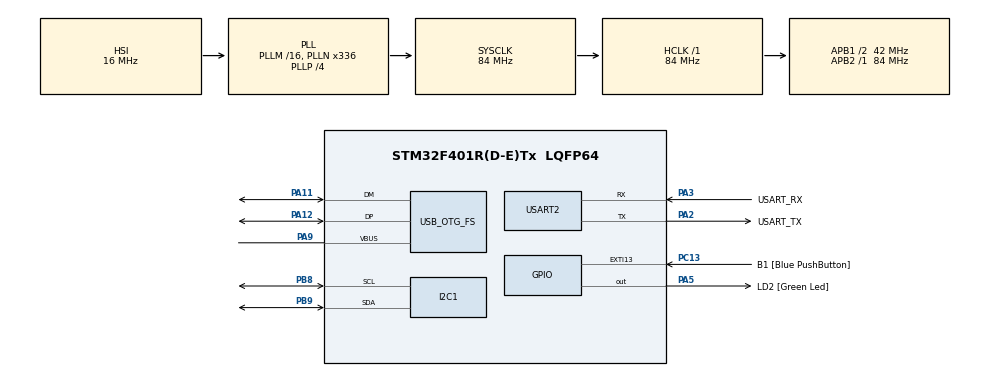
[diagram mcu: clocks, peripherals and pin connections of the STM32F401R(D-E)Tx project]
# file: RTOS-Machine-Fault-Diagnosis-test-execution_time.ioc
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I2C1.I2C_Mode=I2C_Fast
Mcu.Family=STM32F4
Mcu.Name=STM32F401R(D-E)Tx
Mcu.Package=LQFP64
NVIC.EXTI15_10_IRQn=true\:0\:0\:false\:false\:true\:true\:true\:true
NVIC.OTG_FS_IRQn=true\:0\:0\:false\:false\:true\:true\:true\:true
NVIC.PriorityGroup=NVIC_PRIORITYGROUP_4
PA11.Mode=Host_Only
PA11.Signal=USB_OTG_FS_DM
PA12.Mode=Host_Only
PA12.Signal=USB_OTG_FS_DP
PA13.GPIO_Label=TMS
PA13.Mode=Trace_Asynchronous_SW
PA13.Signal=SYS_JTMS-SWDIO
PA14.GPIO_Label=TCK
PA14.Mode=Trace_Asynchronous_SW
PA14.Signal=SYS_JTCK-SWCLK
PA2.GPIO_Label=USART_TX
PA2.GPIO_Mode=GPIO_MODE_AF_PP
PA2.GPIO_PuPd=GPIO_NOPULL
PA2.GPIO_Speed=GPIO_SPEED_FREQ_LOW
PA2.Mode=Asynchronous
PA2.Signal=USART2_TX
PA3.GPIO_Label=USART_RX
PA3.GPIO_Mode=GPIO_MODE_AF_PP
PA3.GPIO_PuPd=GPIO_NOPULL
PA3.GPIO_Speed=GPIO_SPEED_FREQ_LOW
PA3.Mode=Asynchronous
PA3.Signal=USART2_RX
PA5.GPIO_Label=LD2 [Green Led]
PA5.GPIO_Mode=GPIO_MODE_OUTPUT_PP
PA5.GPIO_PuPd=GPIO_NOPULL
PA5.GPIO_Speed=GPIO_SPEED_FREQ_LOW
PA5.Signal=GPIO_Output
PA9.Mode=Activate_VBUS
PA9.Signal=USB_OTG_FS_VBUS
PB3.GPIO_Label=SWO
PB3.Mode=Trace_Asynchronous_SW
PB3.Signal=SYS_JTDO-SWO
PB8.Mode=I2C
PB8.Signal=I2C1_SCL
PB9.Mode=I2C
PB9.Signal=I2C1_SDA
PC13-ANTI_TAMP.GPIO_Label=B1 [Blue PushButton]
PC13-ANTI_TAMP.GPIO_ModeDefaultEXTI=GPIO_MODE_IT_FALLING
PC13-ANTI_TAMP.GPIO_PuPd=GPIO_PULLUP
PC13-ANTI_TAMP.Signal=GPXTI13
PC14-OSC32_IN.Mode=LSE-External-Oscillator
PC14-OSC32_IN.Signal=RCC_OSC32_IN
PC15-OSC32_OUT.Mode=LSE-External-Oscillator
PC15-OSC32_OUT.Signal=RCC_OSC32_OUT
PH0\ -\ OSC_IN.Mode=HSE-External-Clock-Source
PH0\ -\ OSC_IN.Signal=RCC_OSC_IN
PH1\ -\ OSC_OUT.Mode=HSE-External-Clock-Source
PH1\ -\ OSC_OUT.Signal=RCC_OSC_OUT
ProjectManager.HeapSize=0x800
ProjectManager.StackSize=0x800
ProjectManager.TargetToolchain=STM32CubeIDE
RCC.48MHZClocksFreq_Value=48000000
RCC.AHBFreq_Value=84000000
RCC.APB1CLKDivider=RCC_HCLK_DIV2
RCC.APB1Freq_Value=42000000
RCC.APB1TimFreq_Value=84000000
RCC.APB2Freq_Value=84000000
RCC.APB2TimFreq_Value=84000000
RCC.CortexFreq_Value=84000000
RCC.HCLKFreq_Value=84000000
RCC.HSE_VALUE=8000000
RCC.HSI_VALUE=16000000
RCC.PLLM=4
RCC.PLLN=168
RCC.PLLP=RCC_PLLP_DIV4
RCC.PLLQ=7
RCC.SYSCLKFreq_VALUE=84000000
RCC.SYSCLKSource=RCC_SYSCLKSOURCE_PLLCLK
RCC.VCOOutputFreq_Value=336000000
USART2.VirtualMode=VM_ASYNC
USB_HOST.BSP.number=1
USB_HOST.USBH_HandleTypeDef-AUDIO_FS=hUsbHostFS
USB_HOST.VirtualModeFS=Audio
USB_HOST0.BSP.STBoard=false
USB_HOST0.BSP.api=Unknown
USB_HOST0.BSP.condition=SW_VBUS_DRIVE_AUDIO_FS \= false
USB_HOST0.BSP.instance=PA5
USB_HOST0.BSP.ip=GPIO
USB_HOST0.BSP.mode=Output
USB_HOST0.BSP.name=Drive_VBUS_FS
USB_HOST0.BSP.solution=PA5
USB_OTG_FS.VirtualMode=Host_Only
USB_OTG_FS.phy_itface=HCD_PHY_EMBEDDED
VP_CRC_VS_CRC.Mode=CRC_Activate
VP_USB_HOST_VS_USB_HOST_AUDIO_FS.Mode=AUDIO_FS
board=NUCLEO-F401RE

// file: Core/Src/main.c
/* USER CODE BEGIN Header */
/**
  ******************************************************************************
  * @file           : main.c
  * @brief          : Main program body
  ******************************************************************************
  * @attention
  *
  * Copyright (c) 2025 STMicroelectronics.
  * All rights reserved.
  *
  * This software is licensed under terms that can be found in the LICENSE file
  * in the root directory of this software component.
  * If no LICENSE file comes with this software, it is provided AS-IS.
  *
  ******************************************************************************
  */

/* USER CODE BEGIN Header */
/**
  ******************************************************************************
  * @file           : main.c
  * @brief          : Main program body
  ******************************************************************************
  * @attention
  *
  * Copyright (c) 2025 STMicroelectronics.
  * All rights reserved.
  *
  * This software is licensed under terms that can be found in the LICENSE file
  * in the root directory of this software component.
  * If no LICENSE file comes with this software, it is provided AS-IS.
  *
  ******************************************************************************
  */
/* USER CODE END Header */
#include "main.h"
#include "usb_host.h"

/* USER CODE BEGIN Includes */
#include <string.h>
#include <stdio.h>
#include <float.h>
#include <math.h>

#include "FreeRTOS.h"
#include "task.h"
#include "queue.h"
#include "semphr.h"
#include "usbh_audio.h"
#include "i2c.h"
#include "i2c_lcd.h"

#include "ai_datatypes_defines.h"
#include "ai_platform.h"
#include "frfconv.h"
#include "frfconv_data.h"
#include "app_x-cube-ai.h"
/* USER CODE END Includes */

/* USER CODE BEGIN PM */
// 진동 데이터 센싱 관련 상수 정의
#define SAMPLES_TO_SAVE 2048
#define CHANNELS 2
#define BYTES_PER_SAMPLE 3
#define FRAME_SIZE (CHANNELS * BYTES_PER_SAMPLE)
#define SCALE_FACTOR (0.10197f / (32550.0f * 1.02575f))
#define DOWNSAMPLE_FACTOR 3
#define CPU_CLOCK_HZ SystemCoreClock
/* USER CODE END PM */

/* USER CODE BEGIN PV */
/* 전역/외부 심볼 */
extern CRC_HandleTypeDef hcrc;
extern ApplicationTypeDef Appli_state;
extern char USBHPath[4];
extern USBH_HandleTypeDef hUsbHostFS;
// 데이터 수집 완료를 알리기 위한 바이너리 세마포어 핸들
SemaphoreHandle_t xDataReadySemaphore;
// USBReadTask에서 수집하고 modelTask에서 사용할 공유 데이터 버퍼
static float sample_buffer[SAMPLES_TO_SAVE];
extern UART_HandleTypeDef huart2;

static ai_u8 activations[AI_FRFCONV_DATA_ACTIVATIONS_SIZE];
static ai_float in_data[AI_FRFCONV_IN_1_SIZE];
static ai_float out_data[AI_FRFCONV_OUT_1_SIZE];

static ai_buffer *ai_input;
static ai_buffer *ai_output;
/* USER CODE END PV */

void SystemClock_Config(void);
static void MX_GPIO_Init(void);
static void MX_USART2_UART_Init(void);
static void MX_CRC_Init(void);
void MX_USB_HOST_Process(void);

/* USER CODE BEGIN PFP */
/* Cube가 I2C를 생성했다면 i2c.h가 생기며 MX_I2C1_Init도 생성됩니다.
   나중에 LCD를 쓸 때 main에서 MX_I2C1_Init()을 호출할 계획이면
   i2c.h를 include하고 아래 프로토타입을 추가하세요. (지금은 호출하지 않음)
   // #include "i2c.h"
   // static void MX_I2C1_Init(void);
*/
int32_t convert24bitToInt32(uint8_t *p);

/* 프린트/태스크/헬퍼 함수 프로토타입 */
//void vUSBhostTask(void *pv);
void SystemClock_Config(void);
void vPrintString(const char *str);
void vUSBReadTask(void *pvParameters);
void DumpHexUART(uint8_t *buf, uint16_t len);
void modelTask(void *pvParameters);
void vLCDTask(void *pvParameters);
void vUSBhostTask(void *pvParameters);

static void USB_Recover(void);
static const char* HostStateStr(ApplicationTypeDef s);
static bool USB_WaitReady(uint32_t wait_ms);

static bool USB_ReadBlock(float *MAI, int N);
static bool Model_Init(void);
static bool Model_RunOnce(const float *in2048, int *top_cls, float *top_prob);
static void LCD_PrintPaddedLine(uint8_t row, const char* s);
static void LCD_ShowResult(int cls, float prob);

/* USER CODE END PFP */

/* USER CODE BEGIN 0 */
/* USER 영역(전역 함수 구현 전 준비 공간) */
/* USER CODE END 0 */

int main(void)
{

  /* USER CODE BEGIN 1 */
  /* (필요 시 프리런 초기화 코드) */
  /* USER CODE END 1 */

  /* MCU Configuration--------------------------------------------------------*/

  /* Reset of all peripherals, Initializes the Flash interface and the Systick. */
  HAL_Init();

  /* Configure the system clock */
  SystemClock_Config();

  /* USER CODE BEGIN SysInit */
  /* 현재 구성 유지: HSI → PLL → SYSCLK=84MHz, PLLQ=7로 48MHz 확보 */
  /* USER CODE END SysInit */

  /* Initialize all configured peripherals */
  MX_GPIO_Init();
  MX_USART2_UART_Init();
  MX_USB_HOST_Init();
  MX_I2C1_Init();
  MX_CRC_Init();
  /* USER CODE BEGIN 2 */
  const char *boot = "[BOOT] UART ready\r\n";
  HAL_UART_Transmit(&huart2, (uint8_t*)boot, strlen(boot), 100);

  xDataReadySemaphore = xSemaphoreCreateBinary();
  if (xDataReadySemaphore == NULL) {
      vPrintString("[ERROR] Failed to create data ready semaphore!\r\n");
      while(1); // 시스템 정지
  }

//  xTaskCreate(vUSBhostTask, "USB host", 512, NULL, 4, NULL);
//  xTaskCreate(vUSBReadTask, "USBRead",  1024,  NULL, 3, NULL);
//  xTaskCreate(vUSBhostTask, "USB host process",  512,  NULL, 4, NULL);
//  xTaskCreate(vLCDTask, "LCD Task", 512, NULL, 1, NULL);
//  xTaskCreate(modelTask, "model Task", 1024*2, NULL, 2, NULL);

  // HAL_Delay 등 기능은 무조건 RTOS 시작 후 실행되게 하기 위해 초기화 늦게 수행
  MX_USB_HOST_Init();
  lcd_init();

  /* [ADD] 모델 초기화 */
  if (!Model_Init()) {
      vPrintString("[AI] init failed\r\n");
      Error_Handler();
  }
  /* USER CODE END 2 */

  /* Infinite loop */
  /* USER CODE BEGIN WHILE */
  while (1)
    {
        // 1) USB에서 2048 샘플 수집 (블로킹)
        if (!USB_ReadBlock(sample_buffer, SAMPLES_TO_SAVE)) {
            vPrintString("[USB] read block failed\r\n");
            continue;
        }

//        // (선택) 디버깅: 처음 3개 값
//        char dbg[96];
//        snprintf(dbg, sizeof(dbg), "Start: %.4f, %.4f, %.4f\r\n",
//                 sample_buffer[0], sample_buffer[1], sample_buffer[2]);
//        vPrintString(dbg);

        // 2) 모델 추론
        int top_cls = -1;
        float top_prob = 0.0f;
        if (!Model_RunOnce(sample_buffer, &top_cls, &top_prob)) {
            vPrintString("[AI] run failed\r\n");
            HAL_Delay(1);
            continue;
        }

        // 3) LCD
        LCD_ShowResult(top_cls, top_prob);
    }
}
  /* USER CODE END 3 */

static void MX_CRC_Init(void)
{

  hcrc.Instance = CRC;
  if (HAL_CRC_Init(&hcrc) != HAL_OK)
  {
    Error_Handler();
  }

}

static void MX_GPIO_Init(void)
{
  GPIO_InitTypeDef GPIO_InitStruct = {0};

  /* GPIO Ports Clock Enable */
  __HAL_RCC_GPIOC_CLK_ENABLE();
  __HAL_RCC_GPIOH_CLK_ENABLE();
  __HAL_RCC_GPIOA_CLK_ENABLE();
  __HAL_RCC_GPIOB_CLK_ENABLE();

  /*Configure GPIO pin Output Level */
  HAL_GPIO_WritePin(LD2_GPIO_Port, LD2_Pin, GPIO_PIN_RESET);

  /*Configure GPIO pin : B1_Pin */
  GPIO_InitStruct.Pin = B1_Pin;
  GPIO_InitStruct.Mode = GPIO_MODE_IT_FALLING;
  GPIO_InitStruct.Pull = GPIO_PULLUP;
  HAL_GPIO_Init(B1_GPIO_Port, &GPIO_InitStruct);

  /*Configure GPIO pin : LD2_Pin */
  GPIO_InitStruct.Pin = LD2_Pin;
  GPIO_InitStruct.Mode = GPIO_MODE_OUTPUT_PP;
  GPIO_InitStruct.Pull = GPIO_NOPULL;
  GPIO_InitStruct.Speed = GPIO_SPEED_FREQ_LOW;
  HAL_GPIO_Init(LD2_GPIO_Port, &GPIO_InitStruct);

  /* EXTI interrupt init*/
  HAL_NVIC_SetPriority(EXTI15_10_IRQn, 0, 0);
  HAL_NVIC_EnableIRQ(EXTI15_10_IRQn);

}

/* USER CODE BEGIN 4 */
/**
  * @brief System Clock Configuration
  * @retval None
  */

/* ====== [ADD] 라벨/유틸 ====== */
static const char* kLabels8[8] = { "H","L","M1","M2","M3","U1","U2","U3" };

static int argmaxf(const ai_float *x, int n) {
    int mi = 0; ai_float mv = x[0];
    for (int i = 1; i < n; ++i) if (x[i] > mv) { mv = x[i]; mi = i; }
    return mi;
}
static float softmax_top1_prob(const ai_float *x, int n, int topi) {
    float m = x[0]; for (int i = 1; i < n; ++i) if (x[i] > m) m = x[i];
    double sum = 0.0; for (int i = 0; i < n; ++i) sum += exp((double)(x[i] - m));
    return (float)(exp((double)(x[topi] - m)) / sum);
}

/* ====== [ADD] (선택) DWT 초기화 ====== */
static void DWT_Init(void) {
    CoreDebug->DEMCR |= CoreDebug_DEMCR_TRCENA_Msk;
    DWT->CYCCNT = 0;
    DWT->CTRL |= 1;
}

static const char* HostStateStr(ApplicationTypeDef s){
    switch(s){
      case APPLICATION_IDLE: return "IDLE";
      case APPLICATION_START: return "START";
      case APPLICATION_READY: return "READY";
      case APPLICATION_DISCONNECT: return "DISCONN";
      default: return "?";
    }
}

// 상단에 선언
static void USB_Recover(void) {
    vPrintString("[USB] recover: re-init host\r\n");
    USBH_Stop(&hUsbHostFS);
    USBH_DeInit(&hUsbHostFS);
    MX_USB_HOST_Init();
}

static bool USB_WaitReady(uint32_t wait_ms)
{
    uint32_t t0 = HAL_GetTick();
    ApplicationTypeDef last = Appli_state;

    while ((HAL_GetTick() - t0) < wait_ms) {
        MX_USB_HOST_Process();
        if (Appli_state != last) {
            char msg[48];
            snprintf(msg, sizeof(msg), "[USB] host=%s\r\n", HostStateStr(Appli_state));
            vPrintString(msg);
            last = Appli_state;
        }
        if (Appli_state == APPLICATION_READY)
            return true;
        HAL_Delay(2); // 여유 있게
    }
    return false;
}

static bool USB_ReadBlock(float *dst, int N)
{
    static uint8_t isoc_submitted = 0;

    /* READY 대기 (최대 5초) */
    if (Appli_state != APPLICATION_READY) {
        if (!USB_WaitReady(20000)) { // << 기다리는 시간 크게
            vPrintString("[USB] not READY (timeout)\r\n");
            return false;
        }
        isoc_submitted = 0;
    }

    AUDIO_HandleTypeDef *audio_handle =
        (AUDIO_HandleTypeDef *)((hUsbHostFS.pActiveClass) ? hUsbHostFS.pActiveClass->pData : NULL);
    if (!(audio_handle && audio_handle->microphone.supported)) {
        vPrintString("[USB] audio class not ready\r\n");
        return false;
    }

    const uint32_t FRAME_TIMEOUT_MS = 2000;   // 프레임 대기 타임아웃(늘림)
    uint32_t last_frame_tick = HAL_GetTick();
    int collected = 0;

    while (collected < N) {
        MX_USB_HOST_Process();

        /* 연결 끊김 감지 */
        if (Appli_state == APPLICATION_DISCONNECT || hUsbHostFS.pActiveClass == NULL) {
            vPrintString("[USB] disconnected during read\r\n");
            return false;
        }

        uint8_t *ubuf = audio_handle->microphone.buf;

        /* 최초 submit */
        if (!isoc_submitted) {
            if (USBH_IsocReceiveData(&hUsbHostFS, ubuf,
                    audio_handle->microphone.frame_length,
                    audio_handle->microphone.Pipe) == USBH_OK) {
                isoc_submitted = 1;
                last_frame_tick = HAL_GetTick();
            }
            /* 프레임 없어도 READY면 더 기다려 준다 */
            if ((HAL_GetTick() - last_frame_tick) > FRAME_TIMEOUT_MS)
                return false;
            HAL_Delay(2);
            continue;
        }

        USBH_URBStateTypeDef urb =
            USBH_LL_GetURBState(&hUsbHostFS, audio_handle->microphone.Pipe);

        if (urb == USBH_URB_DONE) {
            int frames_in_buf = audio_handle->microphone.frame_length / FRAME_SIZE;
            for (int i = 0; i < frames_in_buf; i += DOWNSAMPLE_FACTOR) {
                if (collected >= N) break;
                int32_t sv = convert24bitToInt32(&ubuf[i * FRAME_SIZE]);
                float scaled = (float)sv * SCALE_FACTOR;
                dst[collected++] = scaled;
            }
            (void)USBH_IsocReceiveData(&hUsbHostFS, ubuf,
                    audio_handle->microphone.frame_length,
                    audio_handle->microphone.Pipe);
            last_frame_tick = HAL_GetTick(); // 프레임 받았으니 타임아웃 리셋
        }
        else if (urb == USBH_URB_ERROR || urb == USBH_URB_STALL || urb == USBH_URB_NOTREADY) {
            (void)USBH_IsocReceiveData(&hUsbHostFS, ubuf,
                    audio_handle->microphone.frame_length,
                    audio_handle->microphone.Pipe);
        }

        /* READY인데 프레임이 너무 오래 안 오면 상위로 false */
        if ((HAL_GetTick() - last_frame_tick) > FRAME_TIMEOUT_MS) {
            vPrintString("[USB] frame timeout\r\n");
            return false;
        }
    }
    return true;
}

/* ====== [ADD] 모델 컨텍스트/초기화/1회 추론 ====== */
typedef struct {
    ai_handle         net;
    ai_network_report report;
    bool              ready;
} model_ctx_t;

static model_ctx_t g_model = {0};

static bool Model_Init(void)
{
    if (g_model.ready) return true;

    const ai_handle acts[] = { activations };
    ai_error err = ai_frfconv_create_and_init(&g_model.net, acts, NULL);
    if (err.type != AI_ERROR_NONE) {
        vPrintString("[AI] create/init fail\r\n");
        return false;
    }
    if (!ai_frfconv_get_report(g_model.net, &g_model.report)) {
        vPrintString("[AI] get_report fail\r\n");
        return false;
    }
    /* (권장) 출력 차원=8 확인 */
    if (g_model.report.n_outputs < 1 || g_model.report.outputs[0].size != 8) {
        vPrintString("[AI] ERROR: out size != 8\r\n");
        return false;
    }
    g_model.ready = true;
    return true;
}

/* in2048을 그대로 in_data에 복사(필요 시 전처리 삽입 지점) */
static bool Model_RunOnce(const float *in2048, int *top_cls, float *top_prob)
{
    /* 0) 모델 준비 안됐으면 자동 초기화 */
    if (!g_model.ready) {
        if (!Model_Init()) {
            vPrintString("[AI] init fail\r\n");
            return false;
        }
    }

    /* 1) 입력 복사 (필요시 전처리 자리에 추가) */
    const int inN = (int)AI_FRFCONV_IN_1_SIZE;
    if (inN != 2048) {
        const int copyN = (inN < 2048) ? inN : 2048;
        for (int i = 0; i < copyN; ++i)  in_data[i] = in2048[i];
        for (int i = copyN; i < inN; ++i) in_data[i] = 0.0f;  /* zero-pad */
    } else {
        for (int i = 0; i < 2048; ++i)   in_data[i] = in2048[i];
    }

    /* 2) 버퍼 바인딩 */
    ai_buffer *ai_in  = &g_model.report.inputs[0];
    ai_buffer *ai_out = &g_model.report.outputs[0];
    ai_in[0].data  = AI_HANDLE_PTR(in_data);
    ai_out[0].data = AI_HANDLE_PTR(out_data);

    /* 3) 추론 실행 */
    ai_i32 nb = ai_frfconv_run(g_model.net, &ai_in[0], &ai_out[0]);
    if (nb != 1) {
        ai_error e = ai_frfconv_get_error(g_model.net);
        char msg[96];
        /* 실패 원인 로깅: type/code는 ST 런타임 에러 코드 */
        snprintf(msg, sizeof(msg), "[AI] run err type=%d code=%d\r\n", (int)e.type, (int)e.code);
        vPrintString(msg);
        return false;
    }

    /* 4) Top-1 클래스/확률 계산 */
    const int outN = (int)AI_FRFCONV_OUT_1_SIZE;     /* 생성된 매크로 사용이 가장 안전 */
    int cls = argmaxf(out_data, outN);
    float p = softmax_top1_prob(out_data, outN, cls);

    if (top_cls)  *top_cls  = cls;
    if (top_prob) *top_prob = p;
    return true;
}

/* 16x2 LCD 한 줄을 정확히 16자로 출력(남는 칸은 공백 채움) */
static void LCD_PrintPaddedLine(uint8_t row, const char* s) {
    char buf[17];
    /* 좌측 정렬로 16자 채우기, 초과 시 잘라냄 */
    snprintf(buf, sizeof(buf), "%-16.16s", s ? s : "");
    lcd_put_cursor(row, 0);
    lcd_send_string(buf);
}

static void LCD_ShowResult(int cls, float prob)
{
    const char *label = (cls >= 0 && cls < 8) ? kLabels8[cls] : "UNK";

    /* 윗줄: H(정상, cls==0)일 땐 공백(아무것도 출력 X),
             그 외 결함일 땐 "Stop & Check !!" */
    if (cls == 0) {
        LCD_PrintPaddedLine(0, "");                 // 16칸 공백으로 클리어
    } else {
        LCD_PrintPaddedLine(0, "Stop & Check !!");  // 길이 15, LCD 16칸 내
    }

    /* 아랫줄: "<라벨> <확률%>" (소수점 2자리)
       예: "H 99.32%" 또는 "M3 100.00%"
       - LCD 폭 16자 안에 넉넉히 들어갑니다.
       - 필요 시 자리맞춤(패딩)도 적용 */
    char line2[17];
    float pct = prob * 100.0f;
    /* 좌측 정렬 패딩 포함(남는 칸 공백): */
    snprintf(line2, sizeof(line2), "%-16.16s", "");  // 초기화
    /* 실제 문자열 구성 */
    char msg[16];
    /* 라벨과 공백 하나, 그리고 퍼센트(소수 2자리) */
    snprintf(msg, sizeof(msg), "%s %.2f%%", label, pct);
    /* 최종 16자 패딩 출력 */
    LCD_PrintPaddedLine(1, msg);
}

void SystemClock_Config(void)
{
  RCC_OscInitTypeDef RCC_OscInitStruct = {0};
  RCC_ClkInitTypeDef RCC_ClkInitStruct = {0};

  /** Configure the main internal regulator output voltage
  */
  __HAL_RCC_PWR_CLK_ENABLE();
  __HAL_PWR_VOLTAGESCALING_CONFIG(PWR_REGULATOR_VOLTAGE_SCALE2);

  /** Initializes the RCC Oscillators according to the specified parameters
  * in the RCC_OscInitTypeDef structure.
  */
  RCC_OscInitStruct.OscillatorType = RCC_OSCILLATORTYPE_HSI;
  RCC_OscInitStruct.HSIState = RCC_HSI_ON;
  RCC_OscInitStruct.HSICalibrationValue = RCC_HSICALIBRATION_DEFAULT;
  RCC_OscInitStruct.PLL.PLLState = RCC_PLL_ON;
  RCC_OscInitStruct.PLL.PLLSource = RCC_PLLSOURCE_HSI;
  RCC_OscInitStruct.PLL.PLLM = 16;
  RCC_OscInitStruct.PLL.PLLN = 336;
  RCC_OscInitStruct.PLL.PLLP = RCC_PLLP_DIV4;
  RCC_OscInitStruct.PLL.PLLQ = 7;
  if (HAL_RCC_OscConfig(&RCC_OscInitStruct) != HAL_OK)
  {
    Error_Handler();
  }

  /** Initializes the CPU, AHB and APB buses clocks
  */
  RCC_ClkInitStruct.ClockType = RCC_CLOCKTYPE_HCLK|RCC_CLOCKTYPE_SYSCLK
                              |RCC_CLOCKTYPE_PCLK1|RCC_CLOCKTYPE_PCLK2;
  RCC_ClkInitStruct.SYSCLKSource = RCC_SYSCLKSOURCE_PLLCLK;
  RCC_ClkInitStruct.AHBCLKDivider = RCC_SYSCLK_DIV1;
  RCC_ClkInitStruct.APB1CLKDivider = RCC_HCLK_DIV2;
  RCC_ClkInitStruct.APB2CLKDivider = RCC_HCLK_DIV1;

  if (HAL_RCC_ClockConfig(&RCC_ClkInitStruct, FLASH_LATENCY_2) != HAL_OK)
  {
    Error_Handler();
  }

}

/* ===== 사용자 함수 구현부 ===== */
void vApplicationStackOverflowHook(TaskHandle_t xTask, char *pcTaskName)
{
  (void)xTask; (void)pcTaskName;
  taskDISABLE_INTERRUPTS();
  for(;;) { }
}

void vPrintString(const char *str) {
  HAL_UART_Transmit(&huart2, (uint8_t*)str, strlen(str), HAL_MAX_DELAY);
}

/**
  * @brief  받은 진동 데이터 터미널에 출력하는 함수 (디버깅용)
  */
void DumpHexUART(uint8_t *buf, uint16_t len)
{
    char str[80];
    for (uint16_t i = 0; i < len; i += 16)
    {
        int chunk_len = (len - i > 16) ? 16 : (len - i);
        int offset = sprintf(str, "%04X: ", i);
        for (int j = 0; j < chunk_len; j++)
        {
            offset += sprintf(&str[offset], "%02X ", buf[i + j]);
        }
        sprintf(&str[offset], "\r\n");
    }
}

//void vUSBhostTask(void *pvParameters)
//{
//	for (;;) {
//		MX_USB_HOST_Process();
//		vTaskDelay(pdMS_TO_TICKS(1));
//	}
//
//}

//void vUSBhostTask(void *pv) {
////  TickType_t t = xTaskGetTickCount();
//  for (;;) {
//    MX_USB_HOST_Process();
//    vTaskDelayUntil(&t, pdMS_TO_TICKS(1));   // 1ms 권장 (혹은 2~5ms)
//  }
//}

//**
//  * @brief  USB 가속도계로부터 데이터를 읽고 출력하는 태스크. 주기 10ms
//  */
//void vUSBReadTask(void *pvParameters)
//{
////    xLastWakeTime = xTaskGetTickCount();
//    AUDIO_HandleTypeDef *audio_handle;
//    uint8_t *buf;
//
//    int collected_samples = 0;
//    static uint8_t isoc_submitted = 0;
//
////	#define NUM_MEASUREMENTS 100
////    float execution_times[NUM_MEASUREMENTS];
////	static int measurement_count = 0;
////	static uint32_t start_time = 0;
//
//    for (;;) {
//        MX_USB_HOST_Process();
//        audio_handle = (AUDIO_HandleTypeDef *)hUsbHostFS.pActiveClass->pData;
//
//        if (!(audio_handle && audio_handle->microphone.supported)) {
//        	vTaskDelay(pdMS_TO_TICKS(1));
//        	continue;
//        }
//
//        buf = audio_handle->microphone.buf;
//
//        if (!isoc_submitted) {
//            if (USBH_IsocReceiveData(&hUsbHostFS,
//                           buf,
//                           audio_handle->microphone.frame_length,
//                           audio_handle->microphone.Pipe) == USBH_OK) {
//               isoc_submitted = 1;
//            }
//            vTaskDelay(pdMS_TO_TICKS(1));
//            continue;
//        }
//
//        USBH_URBStateTypeDef urb =
//                    USBH_LL_GetURBState(&hUsbHostFS, audio_handle->microphone.Pipe);
//
//        if (urb == USBH_URB_DONE) {
//            int frames_in_buf = audio_handle->microphone.frame_length / FRAME_SIZE;
//
//            for (int i = 0; i < frames_in_buf; i += DOWNSAMPLE_FACTOR){
//               if (collected_samples < SAMPLES_TO_SAVE) {
////                   if (collected_samples == 0) {
////                	   start_time = DWT->CYCCNT;
////                   }
//                    int32_t sample_val = convert24bitToInt32(&buf[i * FRAME_SIZE]);
//                    float scaled_val = (float)sample_val * SCALE_FACTOR;
//                    sample_buffer[collected_samples++] = scaled_val;
//               }
//               // 2048개 샘플이 모두 모였을 때
//               if (collected_samples >= SAMPLES_TO_SAVE){
////                   char buf[128];
////                   // 처음 3개
////                   snprintf(buf, sizeof(buf), "  Start: %.4f, %.4f, %.4f\r\n", sample_buffer[0], sample_buffer[1], sample_buffer[2]);
////                   vPrintString(buf);
////                   if (measurement_count < NUM_MEASUREMENTS) {
////                	   uint32_t end_time = DWT->CYCCNT;
////                	   uint32_t cycles = end_time - start_time;
////						execution_times[measurement_count] = (float)cycles * 1000.0f / (float)CPU_CLOCK_HZ;
////						measurement_count++;
////                   }
//                  collected_samples = 0;
//                  break;
//               }
//            }
//            // 다음 데이터 패킷을 받기 위해 수신 요청을 다시 제출
//            (void)USBH_IsocReceiveData(&hUsbHostFS,
//                                       buf,
//                                       audio_handle->microphone.frame_length,
//                                       audio_handle->microphone.Pipe);
//        	}
//        else{
////        	vTaskDelay(pdMS_TO_TICKS(1));
//        }
////		if (measurement_count >= NUM_MEASUREMENTS) {
////			char tx_buffer[128];
////			int len = 0;
////
////			// 통계 계산
////			float min_time_ticks = FLT_MAX;
////			float max_time_ticks = 0.0f;
////			float sum_time_ticks = 0.0f;
////
////			for (int i = 0; i < NUM_MEASUREMENTS; i++) {
////				float current_time = execution_times[i];
////				sum_time_ticks += current_time;
////				if (current_time < min_time_ticks) min_time_ticks = current_time;
////				if (current_time > max_time_ticks) max_time_ticks = current_time;
////			}
////
////			double avg_time_ticks = (double)sum_time_ticks / NUM_MEASUREMENTS;
////			double sum_of_squared_diffs = 0.0;
////			for (int i = 0; i < NUM_MEASUREMENTS; i++) {
////				double diff = (double)execution_times[i] - avg_time_ticks;
////					sum_of_squared_diffs += diff * diff;
////			}
////			double variance_ticks = sum_of_squared_diffs / NUM_MEASUREMENTS;
////			double std_dev_ticks = sqrt(variance_ticks);
////
////			// UART 출력
////			len = sprintf(tx_buffer, "\r\n------ USB sensing Time Stats ------\r\n");
////			HAL_UART_Transmit(&huart2, (uint8_t*)tx_buffer, len, HAL_MAX_DELAY);
////			len = sprintf(tx_buffer, "Average: %.3f ms\r\n", avg_time_ticks);
////			HAL_UART_Transmit(&huart2, (uint8_t*)tx_buffer, len, HAL_MAX_DELAY);
////			len = sprintf(tx_buffer, "Std Deviation: %.3f ms\r\n", std_dev_ticks);
////			HAL_UART_Transmit(&huart2, (uint8_t*)tx_buffer, len, HAL_MAX_DELAY);
////			len = sprintf(tx_buffer, "Minimum: %.3f ms\r\n", min_time_ticks);
////			HAL_UART_Transmit(&huart2, (uint8_t*)tx_buffer, len, HAL_MAX_DELAY);
////			len = sprintf(tx_buffer, "Maximum: %.3f ms\r\n", max_time_ticks);
////			HAL_UART_Transmit(&huart2, (uint8_t*)tx_buffer, len, HAL_MAX_DELAY);
////
////			// 다음 측정을 위해 카운터를 0으로 초기화
////			measurement_count = 0;
//		}
//	vTaskDelayUntil(&xLastWakeTime, xFrequency);
//}

//// LCD Task
// LCD Task: 16x2에 간단 메시지 주기적으로 출력
void vLCDTask(void *pvParameters)
{
    for (;;)
    {
        lcd_clear();
        lcd_put_cursor(0, 0);
        lcd_send_string("Machine conditio");
        lcd_put_cursor(1, 0);
        lcd_send_string("Machine conditio");

        vTaskDelay(pdMS_TO_TICKS(50));
    }
}

//void vLCDTask(void *pvParameters)
//{
//	#define NUM_MEASUREMENTS 100
//	static int measurement_count = 0;
//	float execution_times[100];
//    for (;;)
//    {
//    	uint32_t start_time = DWT->CYCCNT;
//
//        lcd_clear();
//        lcd_put_cursor(0, 0);
//        lcd_send_string("Machine conditio");
//        lcd_put_cursor(1, 0);
//        lcd_send_string("Machine conditio");
//
//        if (measurement_count < NUM_MEASUREMENTS){
//			uint32_t end_time = DWT->CYCCNT;
//			uint32_t cycles = end_time - start_time;
//			execution_times[measurement_count] = (float)cycles * 1000.0f / (float)CPU_CLOCK_HZ;
//			measurement_count++;
//        }
//        if (measurement_count >= NUM_MEASUREMENTS){
//        	float  min_time_ticks = FLT_MAX;
//			float  max_time_ticks = 0.0f;
//			float  sum_time_ticks = 0.0f;
//			double std_dev_ticks = 0.0;
//			double variance_ticks = 0.0;
//
//			for (int i = 0; i < 100; i++)
//			{
//				float current_time = execution_times[i];
//				sum_time_ticks += current_time;
//				if (current_time < min_time_ticks) min_time_ticks = current_time;
//				if (current_time > max_time_ticks) max_time_ticks = current_time;
//			}
//
//			double avg_time_ticks = (double)sum_time_ticks / 100;
//
//			double sum_of_squared_diffs = 0.0;
//			for (int i = 0; i < 100; i++) {
//				double diff = (double)execution_times[i] - avg_time_ticks;
//				sum_of_squared_diffs += diff * diff;
//			}
//			variance_ticks = sum_of_squared_diffs / 100.0;
//			std_dev_ticks = sqrt(variance_ticks);
//
//			char tx_buffer[100];
//			int len = 0;
//
//			len = sprintf(tx_buffer, "------ LCD (Unit: ms) ------\r\n");
//			HAL_UART_Transmit(&huart2, (uint8_t*)tx_buffer, len, HAL_MAX_DELAY);
//
//			len = sprintf(tx_buffer, "Average:       %.3f ms\r\n", avg_time_ticks);
//			HAL_UART_Transmit(&huart2, (uint8_t*)tx_buffer, len, HAL_MAX_DELAY);
//
//			len = sprintf(tx_buffer, "Std Deviation: %.3f ms\r\n", std_dev_ticks);
//			HAL_UART_Transmit(&huart2, (uint8_t*)tx_buffer, len, HAL_MAX_DELAY);
//
//			len = sprintf(tx_buffer, "Minimum:       %.3f ms\r\n", min_time_ticks);
//			HAL_UART_Transmit(&huart2, (uint8_t*)tx_buffer, len, HAL_MAX_DELAY);
//
//			len = sprintf(tx_buffer, "Maximum:       %.3f ms\r\n", max_time_ticks);
//			HAL_UART_Transmit(&huart2, (uint8_t*)tx_buffer, len, HAL_MAX_DELAY);
//
//        	measurement_count = 0;
//        }
//        vTaskDelay(pdMS_TO_TICKS(50));
//    }
//}

// Model task
//void modelTask(void *pvParameters){
//
//    ai_handle frfconv = AI_HANDLE_NULL;
//    ai_error err;
//    ai_network_report report;
//
//    const ai_handle acts[] = { activations };
//    err = ai_frfconv_create_and_init(&frfconv, acts, NULL);
//    if (err.type != AI_ERROR_NONE) {
//       vPrintString("ai init_and_create error\n");
//    }
//
//    if (ai_frfconv_get_report(frfconv, &report) != true) {
//       vPrintString("ai get report error\n");
//    }
//
//    srand(1);
//    for (;;){
//		char buf[128];
//		for (int i = 0; i < AI_FRFCONV_IN_1_SIZE; i++) {
//			in_data[i] = (float)rand() / (float)RAND_MAX;
//		}
//
//
//		ai_i32 n_batch;
//
//		ai_input = &report.inputs[0];
//		ai_output = &report.outputs[0];
//
//		ai_input[0].data = AI_HANDLE_PTR(in_data);
//		ai_output[0].data = AI_HANDLE_PTR(out_data);
//
//		n_batch = ai_frfconv_run(frfconv, &ai_input[0], &ai_output[0]);
//		uint32_t end_time = DWT->CYCCNT;
//		uint32_t cycles = end_time - start_time;
//		if (n_batch != 1) {
//		   ai_error err = ai_frfconv_get_error(frfconv);
//			};
//
//		for (int i = 0; i < AI_FRFCONV_OUT_1_SIZE; i++) {
//			float y_val = (float)out_data[i];
//		}
////		vTaskDelay(pdMS_TO_TICKS(10));
//    }
//}

void vApplicationGetIdleTaskMemory( StaticTask_t **ppxIdleTaskTCBBuffer,
                                   StackType_t **ppxIdleTaskStackBuffer,
                                   uint32_t *pulIdleTaskStackSize ) {
  static StaticTask_t xIdleTaskTCB;
  static StackType_t uxIdleTaskStack[ configMINIMAL_STACK_SIZE ];

  *ppxIdleTaskTCBBuffer = &xIdleTaskTCB;
  *ppxIdleTaskStackBuffer = uxIdleTaskStack;
  *pulIdleTaskStackSize = configMINIMAL_STACK_SIZE;
}

void vApplicationGetTimerTaskMemory( StaticTask_t **ppxTimerTaskTCBBuffer,
                                    StackType_t **ppxTimerTaskStackBuffer,
                                    uint32_t *pulTimerTaskStackSize ) {
  static StaticTask_t xTimerTaskTCB;
  static StackType_t uxTimerTaskStack[ configTIMER_TASK_STACK_DEPTH ];

  *ppxTimerTaskTCBBuffer = &xTimerTaskTCB;
  *ppxTimerTaskStackBuffer = uxTimerTaskStack;
  *pulTimerTaskStackSize = configTIMER_TASK_STACK_DEPTH;
}

/**
  * @brief  24bit 수를 32bit 정수로 변환하는 함수
  */
int32_t convert24bitToInt32(uint8_t *p) {
    int32_t val = p[0] | (p[1] << 8) | (p[2] << 16);
    if (val & 0x800000) { // 부호 확장
        val |= 0xFF000000;
    }
    return val;
}

void vApplicationMallocFailedHook(void) {
    while(1);
}
/* USER CODE END 4 */

void Error_Handler(void)
{
  __disable_irq();
  while (1)
  {
  }
}
